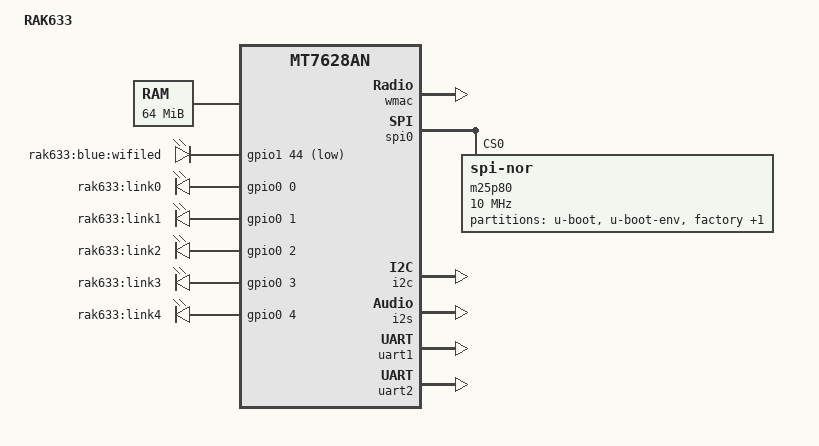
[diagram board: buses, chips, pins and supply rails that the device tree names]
/dts-v1/;

#include "mt7628an.dtsi"

#include <dt-bindings/input/input.h>
#include <dt-bindings/gpio/gpio.h>

/ {
	compatible = "rakwireless,rak633", "mediatek,mt7628an-soc";
	model = "RAK633";
	memory@0 {
		device_type = "memory";
		reg = <0x0 0x4000000>;
	};
	
	gpio-leds {
		compatible = "gpio-leds";

			wifiled {
				label = "rak633:blue:wifiled";
				gpios = <&gpio1 44 GPIO_ACTIVE_LOW>;
			};
			
			link0 {
				label = "rak633:link0";
				gpios = <&gpio0 0 GPIO_ACTIVE_HIGH>;
			};
			link1 {
				label = "rak633:link1";
				gpios = <&gpio0 1 GPIO_ACTIVE_HIGH>;
			};
			link2 {
				label = "rak633:link2";
				gpios = <&gpio0 2 GPIO_ACTIVE_HIGH>;
			};
			link3 {
				label = "rak633:link3";
				gpios = <&gpio0 3 GPIO_ACTIVE_HIGH>;
			};
			link4 {
				label = "rak633:link4";
				gpios = <&gpio0 4 GPIO_ACTIVE_HIGH>;
			};
	};
	
};

&pinctrl {
	state_default: pinctrl0 {
		gpio {
			ralink,group = "wled_an", "refclk", "wdt";
			ralink,function = "gpio";
		};
	};
};

&wmac {
	status = "okay";
};

&spi0 {
	status = "okay";

	m25p80@0 {
		#address-cells = <1>;
		#size-cells = <1>;
		compatible = "jedec,spi-nor";
		reg = <0>;
		spi-max-frequency = <10000000>;
		m25p,chunked-io = <32>;

		partition@0 {
			label = "u-boot";
			reg = <0x0 0x30000>;
			read-only;
		};

		partition@30000 {
			label = "u-boot-env";
			reg = <0x30000 0x10000>;
			read-only;
		};

		factory: partition@40000 {
			label = "factory";
			reg = <0x40000 0x10000>;
			read-only;
		};

		partition@50000 {
			label = "firmware";
			reg = <0x50000 0x7b0000>;
		};
	};
};

&i2c {
	status = "okay";
};

&i2s {
	status = "okay";
};

&uart1 {
	status = "okay";
};

&uart2 {
	status = "okay";
};

&gdma {
	status = "okay";
};
  

